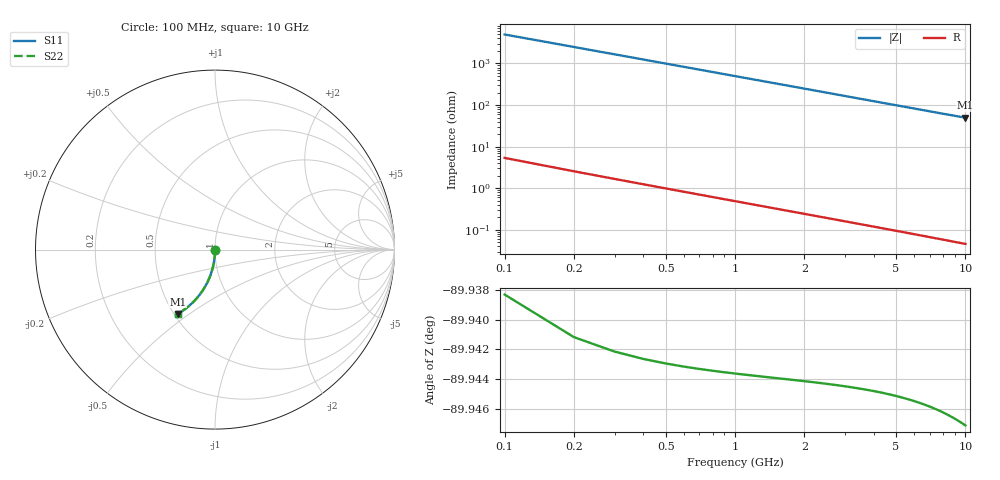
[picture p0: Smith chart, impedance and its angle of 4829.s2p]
# Hz S RI R 50.00
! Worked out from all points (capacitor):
!   100 points, 100 MHz to 10 GHz, reference 50 ohm
!   read as one part in shunt: C = 320 fF near 100 MHz
!   lowest |Z| = 49.7 ohm at 10 GHz (marker M1)
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1e8  7.75e-05 -0.00454  0.9999 -0.0055  0.9999 -0.0055  7.75e-05 -0.00454
2e8  -1.55e-06 -0.00908  0.9998 -0.011  0.9998 -0.011  -1.55e-06 -0.00908
3e8  -0.000131 -0.0136  0.9996 -0.0165  0.9996 -0.0165  -0.000131 -0.0136
4e8  -0.00031 -0.0182  0.9995 -0.022  0.9995 -0.022  -0.00031 -0.0182
5e8  -0.000539 -0.0227  0.9992 -0.0275  0.9992 -0.0275  -0.000539 -0.0227
6e8  -0.000818 -0.0272  0.9989 -0.033  0.9989 -0.033  -0.000818 -0.0272
7e8  -0.00115 -0.0318  0.9986 -0.0384  0.9986 -0.0384  -0.00115 -0.0318
8e8  -0.00153 -0.0363  0.9982 -0.0439  0.9982 -0.0439  -0.00153 -0.0363
9e8  -0.00195 -0.0408  0.9978 -0.0494  0.9978 -0.0494  -0.00195 -0.0408
1.1e9  -0.00296 -0.0499  0.9968 -0.0604  0.9968 -0.0604  -0.00296 -0.0499
1.4e9  -0.00484 -0.0634  0.9948 -0.0767  0.9948 -0.0767  -0.00484 -0.0634
1.8e9  -0.00804 -0.0812  0.9916 -0.0984  0.9916 -0.0984  -0.00804 -0.0812
2.1e9  -0.0109 -0.0945  0.9886 -0.1146  0.9886 -0.1146  -0.0109 -0.0945
2.5e9  -0.0155 -0.1121  0.984 -0.136  0.984 -0.136  -0.0155 -0.1121
2.9e9  -0.0208 -0.1294  0.9786 -0.1571  0.9786 -0.1571  -0.0208 -0.1294
3.4e9  -0.0285 -0.1505  0.9708 -0.1831  0.9708 -0.1831  -0.0285 -0.1505
4.2e9  -0.043 -0.1833  0.956 -0.2236  0.956 -0.2236  -0.043 -0.1833
5.1e9  -0.0624 -0.2181  0.9362 -0.2672  0.9362 -0.2672  -0.0624 -0.2181
5.9e9  -0.0821 -0.2469  0.916 -0.3039  0.916 -0.3039  -0.0821 -0.2469
6.7e9  -0.1038 -0.2736  0.8938 -0.3385  0.8938 -0.3385  -0.1038 -0.2736
8.4e9  -0.1553 -0.3224  0.8411 -0.4044  0.8411 -0.4044  -0.1553 -0.3224
1e10  -0.208 -0.3581  0.7869 -0.4563  0.7869 -0.4563  -0.208 -0.3581
